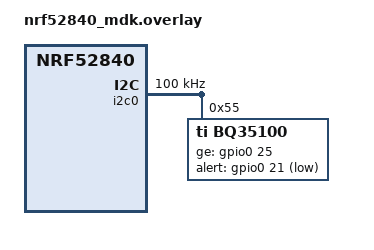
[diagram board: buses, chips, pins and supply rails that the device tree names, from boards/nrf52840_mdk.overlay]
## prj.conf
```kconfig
CONFIG_LOG=y
CONFIG_SENSOR_LOG_LEVEL_DBG=y
CONFIG_I2C=y
CONFIG_SENSOR=y
CONFIG_NEWLIB_LIBC=y
CONFIG_NEWLIB_LIBC_FLOAT_PRINTF=y

CONFIG_BQ35100=y
CONFIG_BQ35100_CALIBRATION_MODE=n
CONFIG_PM_DEVICE=y
```

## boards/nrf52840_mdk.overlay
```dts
/*
 * Copyright (c) 2021 arithmetics.io
 *
 * SPDX-License-Identifier: Apache-2.0
 */

&i2c0 {
	clock-frequency = <I2C_BITRATE_STANDARD>;
	bq35100@55 {
		compatible = "ti,bq35100";
		reg = <0x55>;
		label = "BQ35100";
		ge-gpios = <&gpio0 25 GPIO_ACTIVE_HIGH>;
		alert-gpios = <&gpio0 21 GPIO_ACTIVE_LOW>;
		capacity = <2200>;
		gauge-mode = "EOS";
	};
};
```

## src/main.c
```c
/*
 * Copyright (c) 2021 arithmetics.io
 *
 * SPDX-License-Identifier: Apache-2.0
 */

#include <zephyr.h>
#include <device.h>
#include <sys/util.h>
#include <drivers/sensor.h>
#include "drivers/sensor/bq35100.h"
#include <stdio.h>


#ifdef CONFIG_PM_DEVICE
static void pm_info(enum pm_device_state state, int status)
{
	switch (state) {
	case PM_DEVICE_STATE_ACTIVE:
		printk("Enter ACTIVE_STATE ");
		break;
	case PM_DEVICE_STATE_OFF:
		printk("Enter OFF_STATE ");
		break;
	default:
		printk("State not supported");
	}

	if (status) {
		printk("Fail\n");
	} else {
		printk("Success\n");
	}
}
#endif

#define DEVICE_NODE DT_COMPAT_GET_ANY_STATUS_OKAY(ti_bq35100)

void main(void)
{
	struct sensor_value val;

	const struct device *dev = DEVICE_DT_GET(DEVICE_NODE);

	if (!device_is_ready(dev)) {
		printk("Device %s is not ready\n", dev->name);
		return;
	}

	/* example of how you can call function in the driver from main.
	If you need to pass parameters use val1 and val2.
	SENSOR_ATTR_BQ35100_EXAMPLE1 is just as an example. You could create
	e.g. SENSOR_ATTR_BQ35100_GAUGE_START to start the gauge and so on. */
	/*val.val1 = 1;
	val.val2 = 2;
	sensor_attr_set(dev, SENSOR_CHAN_ALL, SENSOR_ATTR_BQ35100_EXAMPLE1, &val);*/


#ifdef CONFIG_PM_DEVICE
	enum pm_device_state p_state;
	int ret;
#endif

	while (1) {
#ifdef CONFIG_PM_DEVICE
		p_state = PM_DEVICE_STATE_ACTIVE;
		ret = pm_device_state_set(dev, p_state);
		pm_info(p_state, ret);
#endif

		if (sensor_sample_fetch(dev) < 0) {
			printk("Sample fetch failed\n");
			return;
		}

		sensor_channel_get(dev, SENSOR_CHAN_GAUGE_TEMP, &val);
		printf("Temperature:    %2.1f  C\n", sensor_value_to_double(&val));

		sensor_channel_get(dev, SENSOR_CHAN_BQ35100_GAUGE_INT_TEMP, &val);
		printf("Internal Temp:  %2.1f  C\n", sensor_value_to_double(&val));
		
		sensor_channel_get(dev, SENSOR_CHAN_GAUGE_VOLTAGE, &val);
		printf("Voltage:        %1.3f V\n", sensor_value_to_double(&val));
	
		sensor_channel_get(dev, SENSOR_CHAN_GAUGE_AVG_CURRENT, &val);
		printf("Current:        %i   mA\n", val.val1);

		sensor_channel_get(dev, SENSOR_CHAN_GAUGE_STATE_OF_HEALTH, &val);
		printf("State of Health:%i   %%\n", val.val1);

		sensor_channel_get(dev, SENSON_CHAN_BQ35100_GAUGE_DES_CAP, &val);
		printf("Design Capacity:%i  mAh\n", val.val1);

		sensor_channel_get(dev, SENSOR_CHAN_GAUGE_ACCUMULATED_CAPACITY, &val);
		printf("Acc Capacity :  %.3f mAh\n\n", sensor_value_to_double(&val));

#ifdef CONFIG_PM_DEVICE
		p_state = PM_DEVICE_STATE_OFF;
		ret = pm_device_state_set(dev, p_state);
		pm_info(p_state, ret);
#endif

		k_sleep(K_MSEC(3000));
	}
}
```
